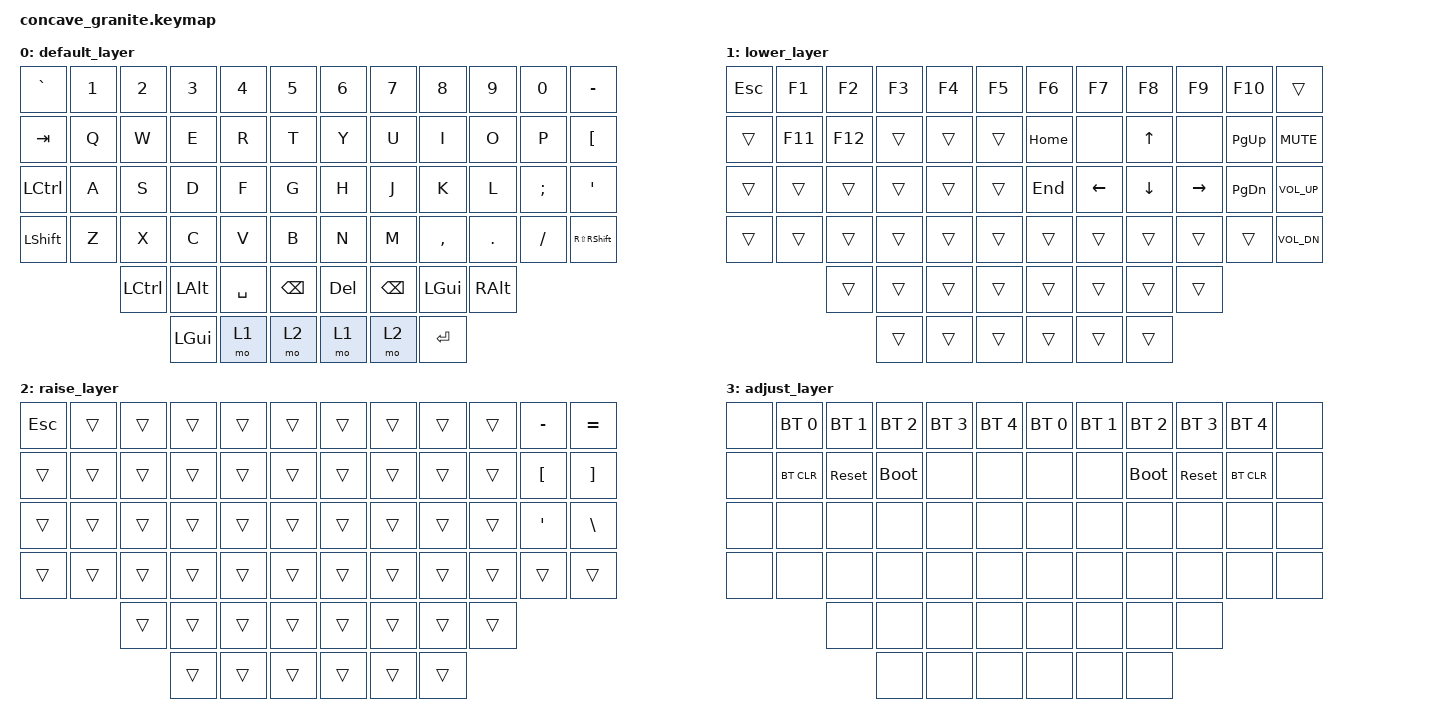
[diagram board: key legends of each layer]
/*
 * Copyright (c) 2021 The ZMK Contributors
 *
 * SPDX-License-Identifier: MIT
 */

#include <behaviors.dtsi>
#include <dt-bindings/zmk/bt.h>
#include <dt-bindings/zmk/keys.h>

/ {
    keymap {
        compatible = "zmk,keymap";

        default_layer {
            // --------------------------------------------------------------------------------------------------------------------------------
            // | ESC   |  1  |  2  |   3   |  4  |  5  |                   ---                |  6   |  7    |  8   |  9   | 0   |    -    |
            // | TAB   |  Q  |  W  |   E   |  R  |  T  |                   ---                |  Y   |  U    |  I   |  O   | P   |     [     |
            // | CTRL  |  A  |  S  |   D   |  F  |  G  |                   ---                |  H   |  J    |  K   |  L   | ;   |     '     |
            // | SHIFT |  Z  |  X  |   C   |  V  |  B  |                   ---                |  N   |  M    |  ,   |  .   | /   | SHIFT |
            // |              LCRTL| L_ALT |    ---    | SPACE | BKSP|     ---         | BKSP | DEL  |      ---     | RGUI | R_ALT|
            // |                                  CRTL | LYR1 | LYR2 |     ---         | LYR1 | LYR2 | ENTER |

            bindings = <
&kp GRAVE  &kp N1  &kp N2     &kp N3        &kp N4     &kp N5           &kp N6      &kp N7         &kp N8     &kp N9         &kp N0         &kp MINUS
&kp TAB    &kp Q   &kp W      &kp E         &kp R      &kp T            &kp Y       &kp U          &kp I      &kp O          &kp P          &kp LEFT_BRACKET
&kp LCTRL  &kp A   &kp S      &kp D         &kp F      &kp G            &kp H       &kp J          &kp K      &kp L          &kp SEMICOLON  &kp SQT
&kp LSHFT  &kp Z   &kp X      &kp C         &kp V      &kp B            &kp N       &kp M          &kp COMMA  &kp PERIOD     &kp SLASH      &kp RS(RIGHT_SHIFT)
                   &kp LCTRL  &kp LEFT_ALT  &kp SPACE  &kp BACKSPACE    &kp DELETE  &kp BACKSPACE  &kp LGUI   &kp RIGHT_ALT
                              &kp LGUI      &mo 1      &mo 2            &mo 1       &mo 2          &kp ENTER
            >;
        };

        lower_layer {
            // --------------------------------------------------------------------------------------------------------------------------
            // | ESC   |  1  |  2   |   3   |   4   |  5  |                   ---              |  6   |  7   |  8  |  9   |  0  |  DEL  |
            // | ESC   |  1  |  2   |   3   |   4   |  5  |                   ---              |  6   |  7   |  8  |  9   |  0  |  DEL  |
            // | CTRL  |  -  |  =   |   [   |   ]   |  \  |                   ---              |  *   |  4   |  5  |  6   |  +  |   -   |
            // | SHIFT | ESC | GUI  | COPY  | PASTE |     |                   ---              |  \   |  1   |  2  |  3   | RET |  RET  |
            //               | CRTL | ALT   | GUI   | GUI |                   ---              | LEFT | DOWN | UP  | RIGHT |
            //                          GUI | LOWER | GUI |                   ---              | LEFT | DOWN | UP  |

            bindings = <
&kp ESC  &kp F1  &kp F2  &kp F3  &kp F4  &kp F5    &kp F6    &kp F7    &kp F8    &kp F9     &kp F10        &trans
&trans   &kp F11 &kp F12 &trans  &trans  &trans    &kp HOME  &none     &kp UP    &none      &kp PG_UP      &kp K_MUTE
&trans   &trans  &trans  &trans  &trans  &trans    &kp END   &kp LEFT  &kp DOWN  &kp RIGHT  &kp PAGE_DOWN  &kp C_VOL_UP
&trans   &trans  &trans  &trans  &trans  &trans    &trans    &trans    &trans    &trans     &trans         &kp C_VOL_DN
                 &trans  &trans  &trans  &trans    &trans    &trans    &trans    &trans
                         &trans  &trans  &trans    &trans    &trans    &trans
            >;
        };

        raise_layer {
            // ----------------------------------------------------------------------------------------------------------------------------
            // | ESC   |  1  |  2  |   3   |  4  |  5  |                   ---                |  6   |  7   |  8   |  9   |  0    |  DEL  |
            // | ESC   |  !  |  @  |   #   |  $  |  %  |                   ---                |  ^   |  &   |  *   |  (   |  )    |  DEL  |
            // | CTRL  |  _  |  +  |   {   |  }  | "|" |                   ---                | HOME | PGUP | PRSC | UP   |  `    |   ~   |
            // | SHIFT | ESC | GUI |   (   |  )  |     |                   ---                | END  | PGDN | LEFT | DOWN | RIGHT |  RET  |
            //               | CRTL | ALT  | GUI  | GUI |                   ---              | LEFT | DOWN | UP  | RIGHT |
            //                        GUI | LOWER | GUI |                   ---              | LEFT | DOWN | UP  |

            bindings = <
&kp ESC  &trans  &trans  &trans  &trans  &trans    &trans  &trans  &trans  &trans  &kp MINUS         &kp EQUAL
&trans   &trans  &trans  &trans  &trans  &trans    &trans  &trans  &trans  &trans  &kp LEFT_BRACKET  &kp RIGHT_BRACKET
&trans   &trans  &trans  &trans  &trans  &trans    &trans  &trans  &trans  &trans  &kp SQT           &kp BACKSLASH
&trans   &trans  &trans  &trans  &trans  &trans    &trans  &trans  &trans  &trans  &trans            &trans
                 &trans  &trans  &trans  &trans    &trans  &trans  &trans  &trans
                         &trans  &trans  &trans    &trans  &trans  &trans
            >;
        };

        adjust_layer {
            // ----------------------------------------------------------------------------------------------------------------------------
            // | ESC   |  1  |  2  |   3   |  4  |  5  |                   ---                |  6   |  7   |  8   |  9   |  0    |  DEL  |
            // | ESC   |  !  |  @  |   #   |  $  |  %  |                   ---                |  ^   |  &   |  *   |  (   |  )    |  DEL  |
            // | CTRL  |  _  |  +  |   {   |  }  | "|" |                   ---                | HOME | PGUP | PRSC | UP   |  `    |   ~   |
            // | SHIFT | ESC | GUI |   (   |  )  |     |                   ---                | END  | PGDN | LEFT | DOWN | RIGHT |  RET  |
            //               | CRTL | ALT  | GUI  | GUI |                   ---              | LEFT | DOWN | UP  | RIGHT |
            //                        GUI | LOWER | GUI |                   ---              | LEFT | DOWN | UP  |

            bindings = <
&none  &bt BT_SEL 0  &bt BT_SEL 1  &bt BT_SEL 2  &bt BT_SEL 3  &bt BT_SEL 4    &bt BT_SEL 0  &bt BT_SEL 1  &bt BT_SEL 2  &bt BT_SEL 3  &bt BT_SEL 4  &none
&none  &bt BT_CLR    &sys_reset    &bootloader   &none         &none           &none         &none         &bootloader   &sys_reset    &bt BT_CLR    &none
&none  &none         &none         &none         &none         &none           &none         &none         &none         &none         &none         &none
&none  &none         &none         &none         &none         &none           &none         &none         &none         &none         &none         &none
                     &none         &none         &none         &none           &none         &none         &none         &none
                                   &none         &none         &none           &none         &none         &none
            >;
        };
    };

    conditional_layers {
        compatible = "zmk,conditional-layers";

        adjust {
            if-layers = <1 2>;
            then-layer = <3>;
        };
    };
};
